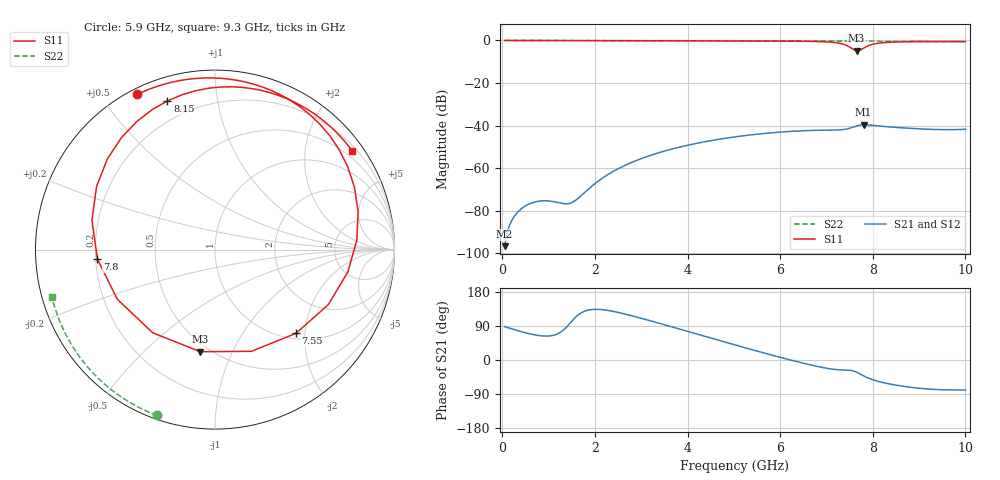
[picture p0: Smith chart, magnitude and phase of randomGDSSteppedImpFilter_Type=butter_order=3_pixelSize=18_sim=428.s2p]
! freq	dB(S11)	phase(S11)	dB(S12)	phase(S12)
!  dB(S21)	phase(S21)	dB(S22)	phase(S22)
!S-par simulation data
#  GHz  S  DB  R 50
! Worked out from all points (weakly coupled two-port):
!   200 points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, 50 MHz to 10 GHz, reference 50 ohm
!   highest |S21| = -39.62 dB at 7.8 GHz (marker M1); lowest = -96.6 dB at 50 MHz (marker M2)
!   lowest |S11| = -4.8 dB at 7.65 GHz (marker M3), VSWR 3.70, Z = 22.4 - j38.1 ohm
!   |S11| at or under -10 dB: nowhere
!   |S22| runs from -0.6 to 0.0 dB; largest |S21 - S12| = 0
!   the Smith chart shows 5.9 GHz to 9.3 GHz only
!   S11 on the Smith chart (normalised r, x): 5.9 GHz: 0.02, +0.62; 7.55 GHz: 1.11, -1.80; 7.8 GHz: 0.21, -0.04; 8.15 GHz: 0.11, +0.72; 9.3 GHz: 0.31, +3.06
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0.05  -0.00 -2.9  -96.62 88.0  -96.62 88.0  -0.00 -1.0
0.95  -0.07 -52.9  -75.31 63.1  -75.31 63.1  -0.02 -19.2
1.45  -0.09 -78.1  -76.54 95.3  -76.54 95.3  -0.04 -29.2
1.75  -0.10 -92.2  -71.94 127.3  -71.94 127.3  -0.04 -35.1
2.45  -0.13 -122.0  -60.85 126.9  -60.85 126.9  -0.06 -48.6
3.4  -0.16 -157.2  -52.59 96.5  -52.59 96.5  -0.09 -66.3
4.2  -0.19 175.6  -48.30 68.4  -48.30 68.4  -0.11 -80.6
5.05  -0.23 147.2  -45.21 38.8  -45.21 38.8  -0.15 -95.2
5.9  -0.29 116.6  -43.22 10.3  -43.22 10.3  -0.19 -109.3
6.7  -0.45 80.1  -42.25 -14.3  -42.25 -14.3  -0.24 -122.2
7  -0.67 59.4  -42.13 -21.7  -42.13 -21.7  -0.26 -127.0
7.2  -1.03 38.8  -42.06 -25.2  -42.06 -25.2  -0.27 -130.1
7.4  -2.03 3.9  -41.73 -26.5  -41.73 -26.5  -0.29 -133.3
7.55  -3.75 -46.0  -40.88 -27.9  -40.88 -27.9  -0.30 -135.7
7.65  -4.81 -98.1  -40.14 -31.9  -40.14 -31.9  -0.31 -137.3
7.8  -3.65 -175.3  -39.62 -41.7  -39.62 -41.7  -0.32 -139.7
7.95  -2.11 139.9  -39.79 -50.0  -39.79 -50.0  -0.34 -142.0
8.15  -1.21 107.7  -40.21 -57.5  -40.21 -57.5  -0.36 -145.2
8.35  -0.85 88.1  -40.59 -62.9  -40.59 -62.9  -0.38 -148.4
8.8  -0.59 59.4  -41.26 -71.7  -41.26 -71.7  -0.43 -155.6
9.3  -0.52 35.9  -41.79 -77.4  -41.79 -77.4  -0.48 -163.8
10  -0.54 8.0  -41.70 -79.0  -41.70 -79.0  -0.58 -175.6
